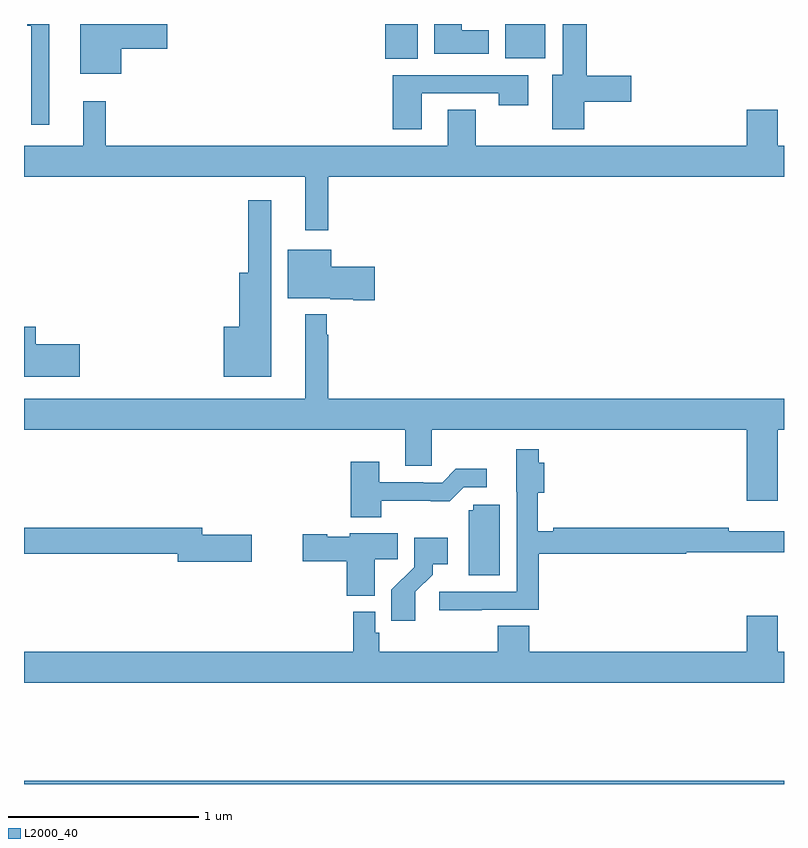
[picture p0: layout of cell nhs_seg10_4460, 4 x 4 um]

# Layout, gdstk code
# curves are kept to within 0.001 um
import gdstk
lib = gdstk.Library(unit=1e-6, precision=1e-09)
def R(c, l, rs):  # rectangles x0, y0, x1, y1
    for r in rs: c.add(gdstk.rectangle(r[:2], r[2:], *l))
def P(c, l, *ps):  # polygons
    for p in ps: c.add(gdstk.Polygon(p, *l))
L2000_40 = (2000, 40)

nhs_seg10_4460 = lib.new_cell('nhs_seg10_4460')
R(nhs_seg10_4460, L2000_40, [(365,1250.5,369,1250.516), (366.902,1254.316,367.072,1254.5), (367.532,1254.32,367.744,1254.5)])
P(nhs_seg10_4460, L2000_40, [(365.512,1254.371),(365.755,1254.371),(365.755,1254.5),(365.297,1254.5),(365.297,1254.239),(365.512,1254.239)],
  [(365.134,1254.5),(365.017,1254.5),(365.017,1254.491),(365.037,1254.491),(365.037,1253.97),(365.134,1253.97)],
  [(367.447,1254.466),(367.303,1254.466),(367.303,1254.5),(367.16,1254.5),(367.16,1254.344),(367.447,1254.344)],
  [(367.948,1254.092),(368.197,1254.092),(368.197,1254.227),(367.961,1254.227),(367.961,1254.5),(367.835,1254.5),(367.835,1254.232),(367.781,1254.232),(367.781,1253.946),(367.948,1253.946)],
  [(367.093,1254.135),(367.498,1254.135),(367.498,1254.072),(367.654,1254.072),(367.654,1254.231),(366.941,1254.231),(366.941,1253.946),(367.093,1253.946)],
  [(366.601,1253.696),(369,1253.696),(369,1253.86),(368.968,1253.86),(368.968,1254.049),(368.804,1254.049),(368.804,1253.86),(367.377,1253.86),(367.377,1254.05),(367.229,1254.05),(367.229,1253.86),(365.429,1253.86),(365.429,1254.094),(365.312,1254.094),(365.312,1253.86),(365,1253.86),(365,1253.696),(366.479,1253.696),(366.479,1253.415),(366.601,1253.415)],
  [(366.301,1253.572),(366.18,1253.572),(366.18,1253.191),(366.134,1253.191),(366.134,1252.906),(366.05,1252.906),(366.05,1252.643),(366.301,1252.643)],
  [(366.847,1253.223),(366.616,1253.223),(366.616,1253.311),(366.389,1253.311),(366.389,1253.057),(366.612,1253.057),(366.612,1253.051),(366.734,1253.051),(366.734,1253.045),(366.847,1253.045)],
  [(368.968,1252.364),(369,1252.364),(369,1252.528),(366.601,1252.528),(366.601,1252.865),(366.593,1252.865),(366.593,1252.972),(366.479,1252.972),(366.479,1252.528),(365,1252.528),(365,1252.364),(367.007,1252.364),(367.007,1252.174),(367.146,1252.174),(367.146,1252.364),(368.804,1252.364),(368.804,1251.99),(368.968,1251.99)],
  [(365.293,1252.814),(365.062,1252.814),(365.062,1252.906),(365,1252.906),(365,1252.643),(365.293,1252.643)],
  [(367.409,1251.417),(367.709,1251.417),(367.709,1251.712),(368.486,1251.712),(368.486,1251.72),(369,1251.72),(369,1251.829),(368.708,1251.829),(368.708,1251.848),(367.786,1251.848),(367.786,1251.83),(367.705,1251.83),(367.705,1252.034),(367.739,1252.034),(367.739,1252.192),(367.709,1252.192),(367.709,1252.261),(367.592,1252.261),(367.592,1252.038),(367.593,1252.038),(367.593,1251.513),(367.185,1251.513),(367.185,1251.415),(367.409,1251.415)],
  [(366.879,1251.99),(367.241,1251.989),(367.314,1252.062),(367.435,1252.062),(367.435,1252.159),(367.273,1252.159),(367.2,1252.086),(367.1,1252.086),(367.1,1252.089),(366.871,1252.089),(366.871,1252.195),(366.719,1252.195),(366.719,1251.905),(366.879,1251.905)],
  [(367.504,1251.969),(367.365,1251.969),(367.365,1251.942),(367.34,1251.942),(367.34,1251.598),(367.504,1251.598)],
  [(366.199,1251.812),(365.938,1251.812),(365.938,1251.848),(365,1251.848),(365,1251.712),(365.81,1251.712),(365.81,1251.67),(366.199,1251.67)],
  [(366.847,1251.682),(366.968,1251.682),(366.968,1251.82),(366.714,1251.82),(366.714,1251.802),(366.597,1251.802),(366.597,1251.815),(366.468,1251.815),(366.468,1251.673),(366.698,1251.673),(366.698,1251.491),(366.847,1251.491)],
  [(367.06,1251.511),(367.15,1251.601),(367.15,1251.656),(367.231,1251.656),(367.231,1251.796),(367.053,1251.796),(367.053,1251.641),(366.934,1251.522),(366.934,1251.36),(367.06,1251.36)],
  [(369,1251.196),(368.968,1251.196),(368.968,1251.385),(368.804,1251.385),(368.804,1251.196),(367.658,1251.196),(367.658,1251.332),(367.493,1251.332),(367.493,1251.196),(366.869,1251.196),(366.869,1251.297),(366.849,1251.297),(366.849,1251.406),(366.733,1251.406),(366.733,1251.196),(365,1251.196),(365,1251.032),(369,1251.032)])

lib.write_gds('nhs_seg10_4460.gds')
